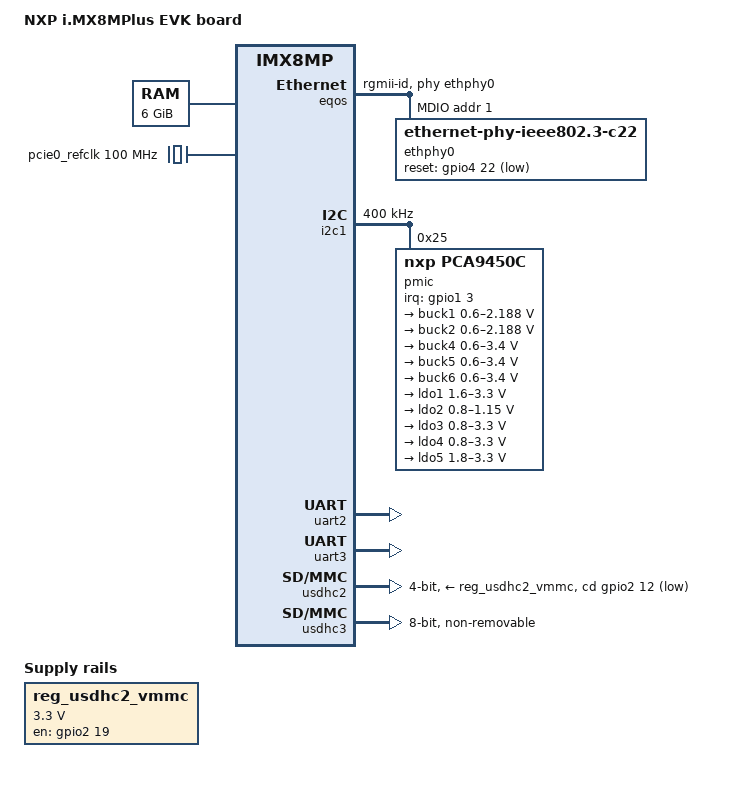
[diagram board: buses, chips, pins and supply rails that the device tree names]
/dts-v1/;

#include <dt-bindings/phy/phy-imx8-pcie.h>
#include <dt-bindings/usb/pd.h>
#include "imx8mp.dtsi"

#define IMX8MP_EVK 1
#define EDC_BRD01 2
#define BRD_REV IMX8MP_EVK

#if BRD_REV == IMX8MP_EVK
#include "imx8mp-evk-pinmux.dtsi"
#elif BRD_REV == EDC_BRD01
#include "imx8mp-edc-brd01-pinmux.dtsi"        
#endif

/ {
	model = "NXP i.MX8MPlus EVK board";
	compatible = "fsl,imx8mp-evk", "fsl,imx8mp";

	chosen {
		stdout-path = &uart2;
	};

  // Removed gpio led for sys status

	memory@40000000 {
		device_type = "memory";
		reg = <0x0 0x40000000 0 0xc0000000>,
		      <0x1 0x00000000 0 0xc0000000>;
	};

	pcie0_refclk: pcie0-refclk {
		compatible = "fixed-clock";
		#clock-cells = <0>;
		clock-frequency = <100000000>;
	};

	reg_pcie0: regulator-pcie {
		compatible = "regulator-fixed";
		pinctrl-names = "default";
#if BRD_REV == IMX8MP_EVK
		pinctrl-0 = <&pinctrl_pcie0_reg>;
#elif BRD_REV == EDC_BRD01
		pinctrl-0 = <&BOARD_InitPins>;
#endif
		regulator-name = "MPCIE_3V3";
		regulator-min-microvolt = <3300000>;
		regulator-max-microvolt = <3300000>;
		gpio = <&gpio2 6 GPIO_ACTIVE_HIGH>;
		enable-active-high;
    	// Toggle the following to enable
		/* regulator-always-on; */
    	status = "disabled";
	};

	reg_usb_vbus: regulator-vbus {
		compatible = "regulator-fixed";
		pinctrl-names = "default";
#if BRD_REV == IMX8MP_EVK
    	pinctrl-0 = <&pinctrl_usb1_vbus>;
#elif BRD_REV == EDC_BRD01
    	pinctrl-0 = <&BOARD_InitPins>;
#endif
		regulator-name = "USB_VBUS";
		regulator-min-microvolt = <5000000>;
		regulator-max-microvolt = <5000000>;
		gpio = <&gpio1 14 GPIO_ACTIVE_HIGH>;
		enable-active-high;
		// Toggle the following to enable
		/* regulator-always-on; */
		status = "disabled";
	};

	reg_usdhc2_vmmc: regulator-usdhc2 {
		compatible = "regulator-fixed";
		pinctrl-names = "default";
#if BRD_REV == IMX8MP_EVK
    	pinctrl-0 = <&pinctrl_reg_usdhc2_vmmc>;
#elif BRD_REV == EDC_BRD01
    	pinctrl-0 = <&BOARD_InitPins>;
#endif
		regulator-name = "VSD_3V3";
		regulator-min-microvolt = <3300000>;
		regulator-max-microvolt = <3300000>;
		gpio = <&gpio2 19 GPIO_ACTIVE_HIGH>;
		enable-active-high;
	};
};

&eqos {
	pinctrl-names = "default";
#if BRD_REV == IMX8MP_EVK
	pinctrl-0 = <&pinctrl_eqos>;
#elif BRD_REV == EDC_BRD01
	pinctrl-0 = <&BOARD_InitPins>;
#endif
	phy-mode = "rgmii-id";
	phy-handle = <&ethphy0>;
	snps,force_thresh_dma_mode;
	snps,mtl-tx-config = <&mtl_tx_setup>;
	snps,mtl-rx-config = <&mtl_rx_setup>;
	status = "okay";

	mdio {
		compatible = "snps,dwmac-mdio";
		#address-cells = <1>;
		#size-cells = <0>;

		ethphy0: ethernet-phy@1 {
			compatible = "ethernet-phy-ieee802.3-c22";
			reg = <1>;
			eee-broken-1000t;
    #if BRD_REV == IMX8MP_EVK
			reset-gpios = <&gpio4 22 GPIO_ACTIVE_LOW>;
    #endif
			reset-assert-us = <10000>;
			reset-deassert-us = <80000>;
			realtek,clkout-disable;
		};
	};

	mtl_tx_setup: tx-queues-config {
		snps,tx-queues-to-use = <4>;
		snps,tx-sched-sp;

		queue0 {
			snps,dcb-algorithm;
			snps,priority = <0x1>;
		};

		queue1 {
			snps,dcb-algorithm;
			snps,priority = <0x2>;
		};

		queue2 {
			snps,dcb-algorithm;
			snps,priority = <0x4>;
		};

		queue3 {
			snps,dcb-algorithm;
			snps,priority = <0xf8>;
		};
	};

	mtl_rx_setup: rx-queues-config {
		snps,rx-queues-to-use = <4>;
		snps,rx-sched-sp;

		queue0 {
			snps,dcb-algorithm;
			snps,priority = <0x1>;
			snps,map-to-dma-channel = <0>;
		};

		queue1 {
			snps,dcb-algorithm;
			snps,priority = <0x2>;
			snps,map-to-dma-channel = <1>;
		};

		queue2 {
			snps,dcb-algorithm;
			snps,priority = <0x4>;
			snps,map-to-dma-channel = <2>;
		};

		queue3 {
			snps,dcb-algorithm;
			snps,priority = <0xf8>;
			snps,map-to-dma-channel = <3>;
		};
	};
};

#if BRD_REV == IMX8MP_EVK
&i2c1 {
	clock-frequency = <400000>;
	pinctrl-names = "default";
	pinctrl-0 = <&pinctrl_i2c1>;
	status = "okay";

	pmic@25 {
		compatible = "nxp,pca9450c";
		reg = <0x25>;
		pinctrl-names = "default";
		pinctrl-0 = <&pinctrl_pmic>;
		interrupt-parent = <&gpio1>;
		interrupts = <3 IRQ_TYPE_LEVEL_LOW>;

		regulators {
			buck1: BUCK1 {
				regulator-name = "BUCK1";
				regulator-min-microvolt = <600000>;
				regulator-max-microvolt = <2187500>;
				regulator-boot-on;
				regulator-always-on;
				regulator-ramp-delay = <3125>;
			};

			buck2: BUCK2 {
				regulator-name = "BUCK2";
				regulator-min-microvolt = <600000>;
				regulator-max-microvolt = <2187500>;
				regulator-boot-on;
				regulator-always-on;
				regulator-ramp-delay = <3125>;
				nxp,dvs-run-voltage = <950000>;
				nxp,dvs-standby-voltage = <850000>;
			};

			buck4: BUCK4{
				regulator-name = "BUCK4";
				regulator-min-microvolt = <600000>;
				regulator-max-microvolt = <3400000>;
				regulator-boot-on;
				regulator-always-on;
			};

			buck5: BUCK5{
				regulator-name = "BUCK5";
				regulator-min-microvolt = <600000>;
				regulator-max-microvolt = <3400000>;
				regulator-boot-on;
				regulator-always-on;
			};

			buck6: BUCK6 {
				regulator-name = "BUCK6";
				regulator-min-microvolt = <600000>;
				regulator-max-microvolt = <3400000>;
				regulator-boot-on;
				regulator-always-on;
			};

			ldo1: LDO1 {
				regulator-name = "LDO1";
				regulator-min-microvolt = <1600000>;
				regulator-max-microvolt = <3300000>;
				regulator-boot-on;
				regulator-always-on;
			};

			ldo2: LDO2 {
				regulator-name = "LDO2";
				regulator-min-microvolt = <800000>;
				regulator-max-microvolt = <1150000>;
				regulator-boot-on;
				regulator-always-on;
			};

			ldo3: LDO3 {
				regulator-name = "LDO3";
				regulator-min-microvolt = <800000>;
				regulator-max-microvolt = <3300000>;
				regulator-boot-on;
				regulator-always-on;
			};

			ldo4: LDO4 {
				regulator-name = "LDO4";
				regulator-min-microvolt = <800000>;
				regulator-max-microvolt = <3300000>;
				regulator-boot-on;
				regulator-always-on;
			};

			ldo5: LDO5 {
				regulator-name = "LDO5";
				regulator-min-microvolt = <1800000>;
				regulator-max-microvolt = <3300000>;
				regulator-boot-on;
				regulator-always-on;
			};
		};
	};
};
#elif BRD_REV == EDC_BRD01
&i2c3 {
  clock-frequency = <400000>;
  pinctrl-names = "default";
  pinctrl-0 = <&BOARD_InitPins>;
  status = "okay";

  // TODO: Check voltage values
  pmic@25 {
    compatible = "nxp,pca9450c";
    reg = <0x25>;
    pinctrl-names = "default";
    pinctrl-0 = <&BOARD_InitPins>;
    interrupt-parent = <&gpio1>;
    interrupts = <3 IRQ_TYPE_LEVEL_LOW>;

    regulators {
      buck1: BUCK1 {
        regulator-name = "BUCK1";
        regulator-min-microvolt = <805000>;
        regulator-max-microvolt = <1000000>;
        regulator-boot-on;
        regulator-always-on;
        regulator-ramp-delay = <3125>;
      };

      buck2: BUCK2 {
        regulator-name = "BUCK2";
        regulator-min-microvolt = <805000>;
        regulator-max-microvolt = <1050000>;
        regulator-boot-on;
        regulator-always-on;
        regulator-ramp-delay = <3125>;
        nxp,dvs-run-voltage = <1000000>;
        nxp,dvs-standby-voltage = <950000>;
      };

      buck4: BUCK4{
        regulator-name = "BUCK4";
        regulator-min-microvolt = <3000000>;
        regulator-max-microvolt = <3600000>;
        regulator-boot-on;
        regulator-always-on;
      };

      buck5: BUCK5{
        regulator-name = "BUCK5";
        regulator-min-microvolt = <1650000>;
        regulator-max-microvolt = <1950000>;
        regulator-boot-on;
        regulator-always-on;
      };

      buck6: BUCK6 {
        regulator-name = "BUCK6";
        regulator-min-microvolt = <1045000>;
        regulator-max-microvolt = <1155000>;
        regulator-boot-on;
        regulator-always-on;
      };

      ldo1: LDO1 {
        regulator-name = "LDO1";
        regulator-min-microvolt = <1710000>;
        regulator-max-microvolt = <1950000>;
        regulator-boot-on;
        regulator-always-on;
      };

      ldo3: LDO3 {
        regulator-name = "LDO3";
        regulator-min-microvolt = <1710000>;
        regulator-max-microvolt = <1890000>;
        regulator-boot-on;
        regulator-always-on;
      };

      ldo5: LDO5 {
        regulator-name = "LDO5";
        regulator-min-microvolt = <1650000>;
        regulator-max-microvolt = <3600000>;
        regulator-boot-on;
        regulator-always-on;
      };
    };
  };
};
#endif

&uart1 {
	pinctrl-names = "default";
#if BRD_REV == IMX8MP_EVK
	pinctrl-0 = <&pinctrl_uart1>;
#elif BRD_REV == EDC_BRD01
	pinctrl-0 = <&BOARD_InitPins>;
#endif
	assigned-clocks = <&clk IMX8MP_CLK_UART1>;
	assigned-clock-parents = <&clk IMX8MP_SYS_PLL1_80M>;
	fsl,uart-has-rtscts;
	status = "disabled";
};

&uart2 {
	/* console */
	pinctrl-names = "default";
#if BRD_REV == IMX8MP_EVK
	pinctrl-0 = <&pinctrl_uart2>;
#elif BRD_REV == EDC_BRD01
	pinctrl-0 = <&BOARD_InitPins>;
#endif
	status = "okay";
};

&uart3 {
	pinctrl-names = "default";
#if BRD_REV == IMX8MP_EVK
	pinctrl-0 = <&pinctrl_uart3>;
#elif BRD_REV == EDC_BRD01
	pinctrl-0 = <&BOARD_InitPins>;
#endif
	assigned-clocks = <&clk IMX8MP_CLK_UART3>;
	assigned-clock-parents = <&clk IMX8MP_SYS_PLL1_80M>;
	fsl,uart-has-rtscts;
	status = "okay";
};

&usdhc2 {
  assigned-clocks = <&clk IMX8MP_CLK_USDHC2>;
  assigned-clock-rates = <400000000>;
  pinctrl-names = "default";
#if BRD_REV == IMX8MP_EVK
	pinctrl-0 = <&pinctrl_usdhc2>, <&pinctrl_usdhc2_gpio>;
#elif BRD_REV == EDC_BRD01
	pinctrl-0 = <&BOARD_InitPins>;
#endif
#if BRD_REV == IMX8MP_EVK
  cd-gpios = <&gpio2 12 GPIO_ACTIVE_LOW>;
#endif
  vmmc-supply = <&reg_usdhc2_vmmc>;
  bus-width = <4>;
  status = "okay";
};

&usdhc3 {
  assigned-clocks = <&clk IMX8MP_CLK_USDHC3>;
  assigned-clock-rates = <400000000>;
  pinctrl-names = "default";
#if BRD_REV == IMX8MP_EVK
	pinctrl-0 = <&pinctrl_usdhc3>;
#elif BRD_REV == EDC_BRD01
	pinctrl-0 = <&BOARD_InitPins>;
#endif
  bus-width = <8>;
  non-removable;
  status = "okay";
};
